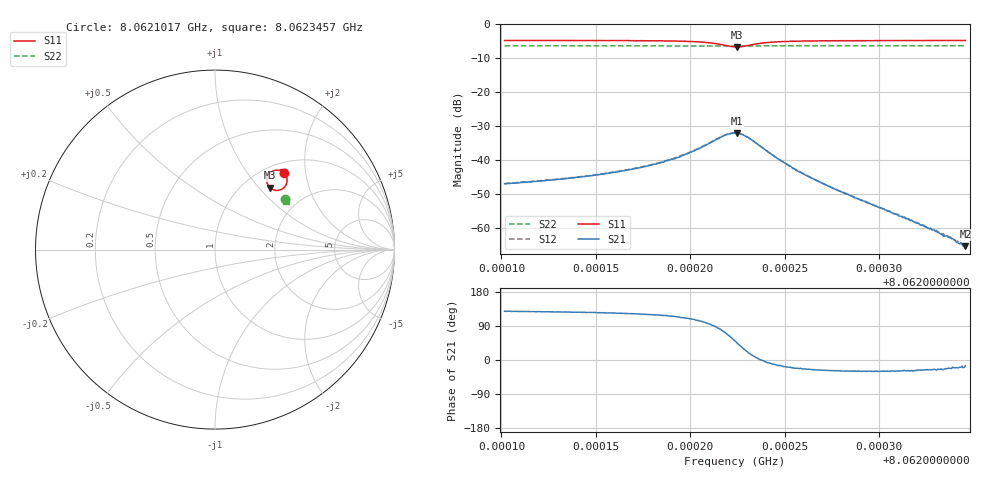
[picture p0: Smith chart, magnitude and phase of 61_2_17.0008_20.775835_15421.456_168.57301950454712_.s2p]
#  HZ  S  RI  R  50.00
! Rohde & Schwarz Vector Network Analyzer
! Rohde-Schwarz,ZNB20-2Port,1311601062101988,3.16
! Created: UTC 3/20/2024, 10:54:48 PM
! freq[Hz]  re:S11  im:S11  re:S21  im:S21  re:S12  im:S12  re:S22  im:S22
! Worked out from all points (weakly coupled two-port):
!   401 points, 8.0621017 GHz to 8.0623457 GHz, reference 50 ohm
!   highest |S21| = -32.01 dB at 8.0622249 GHz (marker M1); lowest = -65.3 dB at 8.0623457 GHz (marker M2)
!   lowest |S11| = -6.7 dB at 8.0622249 GHz (marker M3), VSWR 2.71, Z = 65.5 + j57.5 ohm
!   |S11| at or under -10 dB: nowhere
!   |S22| runs from -6.4 to -6.3 dB; largest |S21 - S12| = 0.0019
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8.0621017e9  0.3843 0.4282  -0.00281 0.00352  -0.00262 0.00371  0.3888 0.2844
8.06214257e9  0.3899 0.4215  -0.00335 0.00463  -0.00308 0.0049  0.3902 0.2822
8.06216147e9  0.3935 0.4163  -0.00372 0.00561  -0.00341 0.00595  0.391 0.2812
8.06218343e9  0.3989 0.4049  -0.00431 0.00799  -0.00385 0.00837  0.3918 0.2794
8.06219502e9  0.4016 0.3926  -0.00422 0.0105  -0.00382 0.0111  0.392 0.2784
8.06220356e9  0.4011 0.3767  -0.00371 0.0139  -0.00294 0.0143  0.392 0.2774
8.06221027e9  0.3939 0.3574  -0.00148 0.0177  -0.00029 0.0181  0.3916 0.2763
8.06221881e9  0.3556 0.3306  0.00757 0.0222  0.00929 0.0218  0.3897 0.2755
8.06222369e9  0.3153 0.3382  0.0161 0.0192  0.0175 0.0182  0.3883 0.2762
8.06222491e9  0.3063 0.3452  0.018 0.0175  0.0191 0.0162  0.3882 0.2765
8.0622304e9  0.2887 0.3875  0.0204 0.00774  0.0209 0.00638  0.3882 0.2784
8.06223894e9  0.3093 0.4299  0.0147 -0.000685  0.0147 -0.00164  0.39 0.2795
8.0622487e9  0.3339 0.4417  0.00921 -0.00267  0.00906 -0.00325  0.3916 0.2792
8.06225541e9  0.3446 0.4429  0.00686 -0.00273  0.00671 -0.00309  0.3923 0.2787
8.06226456e9  0.3545 0.4421  0.00488 -0.00232  0.00477 -0.00263  0.3928 0.2781
8.06227859e9  0.3637 0.44  0.00313 -0.00171  0.00303 -0.00185  0.3939 0.2772
8.06230543e9  0.3731 0.4358  0.00153 -0.000895  0.00151 -0.000968  0.3949 0.2757
8.062328e9  0.3776 0.4332  0.000861 -0.000401  0.000831 -0.000456  0.3956 0.2744
8.06233349e9  0.3785 0.4327  0.000722 -0.000336  0.000733 -0.000383  0.3958 0.2741
8.06233776e9  0.379 0.4322  0.000667 -0.000275  0.000669 -0.000316  0.396 0.2738
8.06234142e9  0.3797 0.4318  0.000573 -0.000215  0.000602 -0.000232  0.3962 0.2737
8.06234569e9  0.3802 0.4315  0.000525 -0.000145  0.000522 -0.000216  0.3962 0.2734
